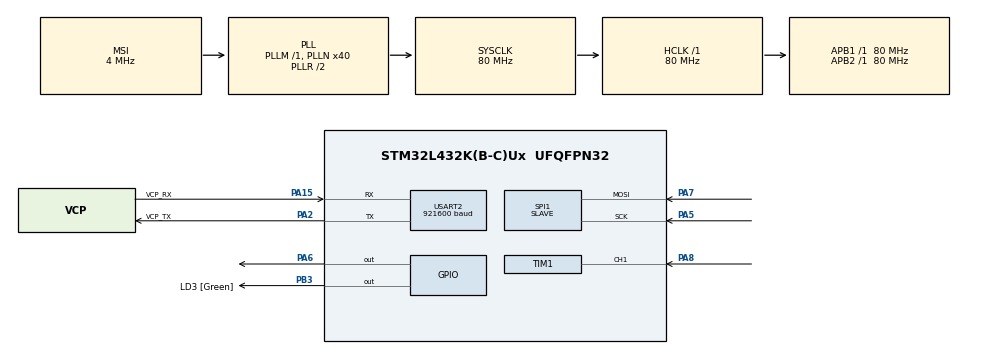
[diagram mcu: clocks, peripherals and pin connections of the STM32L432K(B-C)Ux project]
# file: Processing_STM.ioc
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Dma.Request0=USART2_RX
Dma.Request1=USART2_TX
Dma.Request2=SPI1_RX
Dma.SPI1_RX.2.Direction=DMA_PERIPH_TO_MEMORY
Dma.SPI1_RX.2.Instance=DMA1_Channel2
Dma.SPI1_RX.2.MemDataAlignment=DMA_MDATAALIGN_BYTE
Dma.SPI1_RX.2.MemInc=DMA_MINC_ENABLE
Dma.SPI1_RX.2.Mode=DMA_CIRCULAR
Dma.SPI1_RX.2.PeriphDataAlignment=DMA_PDATAALIGN_BYTE
Dma.SPI1_RX.2.PeriphInc=DMA_PINC_DISABLE
Dma.SPI1_RX.2.Priority=DMA_PRIORITY_VERY_HIGH
Dma.USART2_RX.0.Direction=DMA_PERIPH_TO_MEMORY
Dma.USART2_RX.0.Instance=DMA1_Channel6
Dma.USART2_RX.0.MemDataAlignment=DMA_MDATAALIGN_BYTE
Dma.USART2_RX.0.MemInc=DMA_MINC_ENABLE
Dma.USART2_RX.0.Mode=DMA_NORMAL
Dma.USART2_RX.0.PeriphDataAlignment=DMA_PDATAALIGN_BYTE
Dma.USART2_RX.0.PeriphInc=DMA_PINC_DISABLE
Dma.USART2_RX.0.Priority=DMA_PRIORITY_HIGH
Dma.USART2_TX.1.Direction=DMA_MEMORY_TO_PERIPH
Dma.USART2_TX.1.Instance=DMA1_Channel7
Dma.USART2_TX.1.MemDataAlignment=DMA_MDATAALIGN_BYTE
Dma.USART2_TX.1.MemInc=DMA_MINC_ENABLE
Dma.USART2_TX.1.Mode=DMA_NORMAL
Dma.USART2_TX.1.PeriphDataAlignment=DMA_PDATAALIGN_BYTE
Dma.USART2_TX.1.PeriphInc=DMA_PINC_DISABLE
Dma.USART2_TX.1.Priority=DMA_PRIORITY_LOW
Mcu.Family=STM32L4
Mcu.Name=STM32L432K(B-C)Ux
Mcu.Package=UFQFPN32
NVIC.DMA1_Channel2_IRQn=true\:1\:0\:true\:false\:true\:false\:true\:true
NVIC.DMA1_Channel6_IRQn=true\:0\:0\:true\:false\:true\:false\:true\:true
NVIC.DMA1_Channel7_IRQn=true\:0\:0\:true\:false\:true\:false\:true\:true
NVIC.PriorityGroup=NVIC_PRIORITYGROUP_4
NVIC.SPI1_IRQn=true\:0\:0\:true\:false\:true\:true\:true\:true
NVIC.TIM1_CC_IRQn=true\:1\:0\:true\:false\:true\:true\:true\:true
NVIC.TIM1_UP_TIM16_IRQn=true\:0\:0\:false\:false\:true\:true\:true\:true
NVIC.TIM6_DAC_IRQn=true\:2\:0\:true\:false\:true\:true\:true\:true
NVIC.TIM7_IRQn=true\:2\:0\:true\:false\:true\:true\:true\:true
NVIC.USART2_IRQn=true\:3\:0\:true\:false\:true\:true\:true\:true
PA0.GPIO_Label=MCO [High speed clock in]
PA0.Mode=HSE-External-Clock-Source-for-LittleOrca
PA0.Signal=RCC_CK_IN
PA13\ (JTMS-SWDIO).GPIO_Label=SWDIO
PA13\ (JTMS-SWDIO).Mode=Serial_Wire
PA13\ (JTMS-SWDIO).Signal=SYS_JTMS-SWDIO
PA14\ (JTCK-SWCLK).GPIO_Label=SWCLK
PA14\ (JTCK-SWCLK).Mode=Serial_Wire
PA14\ (JTCK-SWCLK).Signal=SYS_JTCK-SWCLK
PA15\ (JTDI).GPIO_Label=VCP_RX
PA15\ (JTDI).Mode=Asynchronous
PA15\ (JTDI).Signal=USART2_RX
PA2.GPIO_Label=VCP_TX
PA2.Mode=Asynchronous
PA2.Signal=USART2_TX
PA5.Mode=RX_Only_Simplex_Unidirect_Slave
PA5.Signal=SPI1_SCK
PA6.Signal=GPIO_Output
PA7.Mode=RX_Only_Simplex_Unidirect_Slave
PA7.Signal=SPI1_MOSI
PA8.Signal=S_TIM1_CH1
PB3\ (JTDO-TRACESWO).GPIO_Label=LD3 [Green]
PB3\ (JTDO-TRACESWO).Signal=GPIO_Output
PC14-OSC32_IN\ (PC14).Mode=LSE-External-Oscillator
PC14-OSC32_IN\ (PC14).Signal=RCC_OSC32_IN
PC15-OSC32_OUT\ (PC15).Mode=LSE-External-Oscillator
PC15-OSC32_OUT\ (PC15).Signal=RCC_OSC32_OUT
ProjectManager.HeapSize=0x200
ProjectManager.StackSize=0x400
ProjectManager.TargetToolchain=STM32CubeIDE
RCC.AHBFreq_Value=80000000
RCC.APB1Freq_Value=80000000
RCC.APB1TimFreq_Value=80000000
RCC.APB2Freq_Value=80000000
RCC.APB2TimFreq_Value=80000000
RCC.CortexFreq_Value=80000000
RCC.HCLKFreq_Value=80000000
RCC.HSE_VALUE=8000000
RCC.HSI16_VALUE=16000000
RCC.HSI48_VALUE=48000000
RCC.HSI_VALUE=16000000
RCC.MSI_VALUE=4000000
RCC.PLLMUL=RCC_PLLMUL_4
RCC.PLLN=40
RCC.SYSCLKFreq_VALUE=80000000
RCC.SYSCLKSource=RCC_SYSCLKSOURCE_PLLCLK
RCC.VCOOutputFreq_Value=160000000
SH.S_TIM1_CH1.0=TIM1_CH1,Input_Capture1_from_TI1
SPI1.DataSize=SPI_DATASIZE_8BIT
SPI1.Direction=SPI_DIRECTION_2LINES_RXONLY
SPI1.Mode=SPI_MODE_SLAVE
SPI1.VirtualType=VM_SLAVE
TIM1.Channel-Input_Capture1_from_TI1=TIM_CHANNEL_1
TIM1.ICPolarity_CH1=TIM_INPUTCHANNELPOLARITY_BOTHEDGE
TIM1.Prescaler=64-1
TIM16.Prescaler=80-1
TIM6.Prescaler=80-1
TIM7.Period=10000-1
TIM7.Prescaler=8000-1
USART2.BaudRate=921600
USART2.OverSampling=UART_OVERSAMPLING_8
USART2.VirtualMode-Asynchronous=VM_ASYNC
VP_TIM16_VS_ClockSourceINT.Mode=Enable_Timer
VP_TIM1_VS_ClockSourceINT.Mode=Internal
VP_TIM6_VS_ClockSourceINT.Mode=Enable_Timer
VP_TIM7_VS_ClockSourceINT.Mode=Enable_Timer
board=NUCLEO-L432KC

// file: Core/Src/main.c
/* USER CODE BEGIN Header */
/**
  **************************
  * @file           : main.c
  * @brief          : Main program body
  **************************
  * @attention
  *
  * Copyright (c) 2026 STMicroelectronics.
  * All rights reserved.
  *
  * This software is licensed under terms that can be found in the LICENSE file
  * in the root directory of this software component.
  * If no LICENSE file comes with this software, it is provided AS-IS.
  *
  **************************
  */
/* USER CODE END Header */
#include "main.h"

/* USER CODE BEGIN Includes */
#include <stdlib.h>
#include <stdio.h>
#include <string.h>
/* USER CODE END Includes */

/* USER CODE BEGIN PD */
#define FILTER_SIZE 4
#define RX_BUF_SIZE 64
#define OUTLIER_THRESHOLD 800 // Tunable distance
#define SAMPLES_PER_BLOCK 1500
#define SPI_BUF_SIZE (SAMPLES_PER_BLOCK * 2)
#define DISTANCE_TIMEOUT 600
#define RECORDING_LINGER_TIME 100
/* USER CODE END PD */

SPI_HandleTypeDef hspi1;
DMA_HandleTypeDef hdma_spi1_rx;

TIM_HandleTypeDef htim1;
TIM_HandleTypeDef htim6;
TIM_HandleTypeDef htim7;
TIM_HandleTypeDef htim16;

UART_HandleTypeDef huart2;
DMA_HandleTypeDef hdma_usart2_rx;
DMA_HandleTypeDef hdma_usart2_tx;

/* USER CODE BEGIN PV */
uint16_t filter_buffer[FILTER_SIZE] = {2048, 2048, 2048, 2048};
int filter_index = 0;
uint32_t running_sum = 2048 * FILTER_SIZE; // So the filter size can be variable

uint8_t spi_dma_buffer[SPI_BUF_SIZE * 2];
uint8_t rx_dma_buffer[RX_BUF_SIZE];
char cmd_processing_buffer[RX_BUF_SIZE];

// State Machine Variables
uint8_t current_mode = 0; // 'm' for manual, 'd' for distance, 0 for idle
uint8_t is_recording = 0;
uint8_t light_on = 0;
uint16_t manual_seconds_target = 0;
uint16_t seconds_elapsed = 0;
uint16_t distance_threshold_cm = 10; // Default to 10cm
uint32_t last_distance_update = 0;
uint32_t departure_time = 0;
uint8_t stop_sent = 0;
uint8_t start = 0;

// Ultrasonic Sensor Variables
uint32_t ic_val1 = 0;
uint32_t ic_val2 = 0;
uint8_t is_first_captured = 0;
volatile float distance_cm = 999.0;

uint8_t processed_uart_buffer_A[SPI_BUF_SIZE];
uint8_t processed_uart_buffer_B[SPI_BUF_SIZE];
uint8_t tx_toggle = 0;
volatile uint8_t spi_data_ready = 0;
uint8_t *ptr_to_process = NULL;
/* USER CODE END PV */

void SystemClock_Config(void);
static void MX_GPIO_Init(void);
static void MX_DMA_Init(void);
static void MX_USART2_UART_Init(void);
static void MX_SPI1_Init(void);
static void MX_TIM1_Init(void);
static void MX_TIM6_Init(void);
static void MX_TIM7_Init(void);
static void MX_TIM16_Init(void);
/* USER CODE BEGIN PFP */
void delay_uS(uint16_t delay);
void Process_And_Send(uint8_t *data_ptr);
/* USER CODE END PFP */

/* USER CODE BEGIN 0 */
void UART2_ResetReception(void)
{
    // Stop current DMA reception
    HAL_UART_AbortReceive(&huart2);

    // Clear UART error flags (noise from cable switching)
    __HAL_UART_CLEAR_FLAG(&huart2, UART_CLEAR_OREF | UART_CLEAR_NEF | UART_CLEAR_FEF);

    // Restart DMA reception
    HAL_UARTEx_ReceiveToIdle_DMA(&huart2, rx_dma_buffer, RX_BUF_SIZE);
    __HAL_DMA_DISABLE_IT(huart2.hdmarx, DMA_IT_HT);
}
/* USER CODE END 0 */

int main(void)
{

  /* MCU Configuration--------------------------------------------------------*/

  /* Reset of all peripherals, Initializes the Flash interface and the Systick. */
  HAL_Init();

  /* Configure the system clock */
  SystemClock_Config();

  /* Initialize all configured peripherals */
  MX_GPIO_Init();
  MX_DMA_Init();
  MX_USART2_UART_Init();
  MX_SPI1_Init();
  MX_TIM1_Init();
  MX_TIM6_Init();
  MX_TIM7_Init();
  MX_TIM16_Init();
  /* USER CODE BEGIN 2 */
  UART2_ResetReception();

  // Start listening for SPI data from the Sampling STM
  HAL_SPI_Receive_DMA(&hspi1, spi_dma_buffer, SPI_BUF_SIZE * 2);

  // Start the Ultrasonic Echo Input Capture
  HAL_TIM_IC_Start_IT(&htim1, TIM_CHANNEL_1);

  // Start the Ultrasonic Trigger generation timer
  HAL_TIM_Base_Start_IT(&htim6);
  HAL_TIM_Base_Start_IT(&htim16);
  /* USER CODE END 2 */

  /* Infinite loop */
  /* USER CODE BEGIN WHILE */
  while (1)
  {
	  if (spi_data_ready) {
		  spi_data_ready = 0;
		  Process_And_Send(ptr_to_process);
	  }
    /* USER CODE END WHILE */

  }
}

void SystemClock_Config(void)
{
  RCC_OscInitTypeDef RCC_OscInitStruct = {0};
  RCC_ClkInitTypeDef RCC_ClkInitStruct = {0};

  /** Configure the main internal regulator output voltage
  */
  if (HAL_PWREx_ControlVoltageScaling(PWR_REGULATOR_VOLTAGE_SCALE1) != HAL_OK)
  {
    Error_Handler();
  }
  /** Configure LSE Drive Capability
  */
  HAL_PWR_EnableBkUpAccess();
  __HAL_RCC_LSEDRIVE_CONFIG(RCC_LSEDRIVE_LOW);

  /** Initializes the RCC Oscillators according to the specified parameters
  * in the RCC_OscInitTypeDef structure.
  */
  RCC_OscInitStruct.OscillatorType = RCC_OSCILLATORTYPE_LSE|RCC_OSCILLATORTYPE_MSI;
  RCC_OscInitStruct.LSEState = RCC_LSE_ON;
  RCC_OscInitStruct.MSIState = RCC_MSI_ON;
  RCC_OscInitStruct.MSICalibrationValue = 0;
  RCC_OscInitStruct.MSIClockRange = RCC_MSIRANGE_6;
  RCC_OscInitStruct.PLL.PLLState = RCC_PLL_ON;
  RCC_OscInitStruct.PLL.PLLSource = RCC_PLLSOURCE_MSI;
  RCC_OscInitStruct.PLL.PLLM = 1;
  RCC_OscInitStruct.PLL.PLLN = 40;
  RCC_OscInitStruct.PLL.PLLP = RCC_PLLP_DIV7;
  RCC_OscInitStruct.PLL.PLLQ = RCC_PLLQ_DIV2;
  RCC_OscInitStruct.PLL.PLLR = RCC_PLLR_DIV2;
  if (HAL_RCC_OscConfig(&RCC_OscInitStruct) != HAL_OK)
  {
    Error_Handler();
  }
  /** Initializes the CPU, AHB and APB buses clocks
  */
  RCC_ClkInitStruct.ClockType = RCC_CLOCKTYPE_HCLK|RCC_CLOCKTYPE_SYSCLK
                              |RCC_CLOCKTYPE_PCLK1|RCC_CLOCKTYPE_PCLK2;
  RCC_ClkInitStruct.SYSCLKSource = RCC_SYSCLKSOURCE_PLLCLK;
  RCC_ClkInitStruct.AHBCLKDivider = RCC_SYSCLK_DIV1;
  RCC_ClkInitStruct.APB1CLKDivider = RCC_HCLK_DIV1;
  RCC_ClkInitStruct.APB2CLKDivider = RCC_HCLK_DIV1;

  if (HAL_RCC_ClockConfig(&RCC_ClkInitStruct, FLASH_LATENCY_4) != HAL_OK)
  {
    Error_Handler();
  }
  /** Enable MSI Auto calibration
  */
  HAL_RCCEx_EnableMSIPLLMode();
}

static void MX_SPI1_Init(void)
{

  /* SPI1 parameter configuration*/
  hspi1.Instance = SPI1;
  hspi1.Init.Mode = SPI_MODE_SLAVE;
  hspi1.Init.Direction = SPI_DIRECTION_2LINES_RXONLY;
  hspi1.Init.DataSize = SPI_DATASIZE_8BIT;
  hspi1.Init.CLKPolarity = SPI_POLARITY_LOW;
  hspi1.Init.CLKPhase = SPI_PHASE_1EDGE;
  hspi1.Init.NSS = SPI_NSS_SOFT;
  hspi1.Init.FirstBit = SPI_FIRSTBIT_MSB;
  hspi1.Init.TIMode = SPI_TIMODE_DISABLE;
  hspi1.Init.CRCCalculation = SPI_CRCCALCULATION_DISABLE;
  hspi1.Init.CRCPolynomial = 7;
  hspi1.Init.CRCLength = SPI_CRC_LENGTH_DATASIZE;
  hspi1.Init.NSSPMode = SPI_NSS_PULSE_DISABLE;
  if (HAL_SPI_Init(&hspi1) != HAL_OK)
  {
    Error_Handler();
  }

}

static void MX_TIM1_Init(void)
{

  TIM_ClockConfigTypeDef sClockSourceConfig = {0};
  TIM_MasterConfigTypeDef sMasterConfig = {0};
  TIM_IC_InitTypeDef sConfigIC = {0};

  htim1.Instance = TIM1;
  htim1.Init.Prescaler = 64-1;
  htim1.Init.CounterMode = TIM_COUNTERMODE_UP;
  htim1.Init.Period = 65535;
  htim1.Init.ClockDivision = TIM_CLOCKDIVISION_DIV1;
  htim1.Init.RepetitionCounter = 0;
  htim1.Init.AutoReloadPreload = TIM_AUTORELOAD_PRELOAD_DISABLE;
  if (HAL_TIM_Base_Init(&htim1) != HAL_OK)
  {
    Error_Handler();
  }
  sClockSourceConfig.ClockSource = TIM_CLOCKSOURCE_INTERNAL;
  if (HAL_TIM_ConfigClockSource(&htim1, &sClockSourceConfig) != HAL_OK)
  {
    Error_Handler();
  }
  if (HAL_TIM_IC_Init(&htim1) != HAL_OK)
  {
    Error_Handler();
  }
  sMasterConfig.MasterOutputTrigger = TIM_TRGO_RESET;
  sMasterConfig.MasterOutputTrigger2 = TIM_TRGO2_RESET;
  sMasterConfig.MasterSlaveMode = TIM_MASTERSLAVEMODE_DISABLE;
  if (HAL_TIMEx_MasterConfigSynchronization(&htim1, &sMasterConfig) != HAL_OK)
  {
    Error_Handler();
  }
  sConfigIC.ICPolarity = TIM_INPUTCHANNELPOLARITY_BOTHEDGE;
  sConfigIC.ICSelection = TIM_ICSELECTION_DIRECTTI;
  sConfigIC.ICPrescaler = TIM_ICPSC_DIV1;
  sConfigIC.ICFilter = 0;
  if (HAL_TIM_IC_ConfigChannel(&htim1, &sConfigIC, TIM_CHANNEL_1) != HAL_OK)
  {
    Error_Handler();
  }
}

static void MX_TIM6_Init(void)
{

  TIM_MasterConfigTypeDef sMasterConfig = {0};

  htim6.Instance = TIM6;
  htim6.Init.Prescaler = 80-1;
  htim6.Init.CounterMode = TIM_COUNTERMODE_UP;
  htim6.Init.Period = 65535;
  htim6.Init.AutoReloadPreload = TIM_AUTORELOAD_PRELOAD_DISABLE;
  if (HAL_TIM_Base_Init(&htim6) != HAL_OK)
  {
    Error_Handler();
  }
  sMasterConfig.MasterOutputTrigger = TIM_TRGO_RESET;
  sMasterConfig.MasterSlaveMode = TIM_MASTERSLAVEMODE_DISABLE;
  if (HAL_TIMEx_MasterConfigSynchronization(&htim6, &sMasterConfig) != HAL_OK)
  {
    Error_Handler();
  }

}

static void MX_TIM7_Init(void)
{

  TIM_MasterConfigTypeDef sMasterConfig = {0};

  htim7.Instance = TIM7;
  htim7.Init.Prescaler = 8000-1;
  htim7.Init.CounterMode = TIM_COUNTERMODE_UP;
  htim7.Init.Period = 10000-1;
  htim7.Init.AutoReloadPreload = TIM_AUTORELOAD_PRELOAD_DISABLE;
  if (HAL_TIM_Base_Init(&htim7) != HAL_OK)
  {
    Error_Handler();
  }
  sMasterConfig.MasterOutputTrigger = TIM_TRGO_RESET;
  sMasterConfig.MasterSlaveMode = TIM_MASTERSLAVEMODE_DISABLE;
  if (HAL_TIMEx_MasterConfigSynchronization(&htim7, &sMasterConfig) != HAL_OK)
  {
    Error_Handler();
  }

}

static void MX_TIM16_Init(void)
{

  htim16.Instance = TIM16;
  htim16.Init.Prescaler = 80-1;
  htim16.Init.CounterMode = TIM_COUNTERMODE_UP;
  htim16.Init.Period = 65535;
  htim16.Init.ClockDivision = TIM_CLOCKDIVISION_DIV1;
  htim16.Init.RepetitionCounter = 0;
  htim16.Init.AutoReloadPreload = TIM_AUTORELOAD_PRELOAD_DISABLE;
  if (HAL_TIM_Base_Init(&htim16) != HAL_OK)
  {
    Error_Handler();
  }

}

static void MX_USART2_UART_Init(void)
{

  huart2.Instance = USART2;
  huart2.Init.BaudRate = 921600;
  huart2.Init.WordLength = UART_WORDLENGTH_8B;
  huart2.Init.StopBits = UART_STOPBITS_1;
  huart2.Init.Parity = UART_PARITY_NONE;
  huart2.Init.Mode = UART_MODE_TX_RX;
  huart2.Init.HwFlowCtl = UART_HWCONTROL_NONE;
  huart2.Init.OverSampling = UART_OVERSAMPLING_8;
  huart2.Init.OneBitSampling = UART_ONE_BIT_SAMPLE_DISABLE;
  huart2.AdvancedInit.AdvFeatureInit = UART_ADVFEATURE_NO_INIT;
  if (HAL_UART_Init(&huart2) != HAL_OK)
  {
    Error_Handler();
  }

}

static void MX_DMA_Init(void)
{

  /* DMA controller clock enable */
  __HAL_RCC_DMA1_CLK_ENABLE();

  /* DMA interrupt init */
  /* DMA1_Channel2_IRQn interrupt configuration */
  HAL_NVIC_SetPriority(DMA1_Channel2_IRQn, 1, 0);
  HAL_NVIC_EnableIRQ(DMA1_Channel2_IRQn);
  /* DMA1_Channel6_IRQn interrupt configuration */
  HAL_NVIC_SetPriority(DMA1_Channel6_IRQn, 0, 0);
  HAL_NVIC_EnableIRQ(DMA1_Channel6_IRQn);
  /* DMA1_Channel7_IRQn interrupt configuration */
  HAL_NVIC_SetPriority(DMA1_Channel7_IRQn, 0, 0);
  HAL_NVIC_EnableIRQ(DMA1_Channel7_IRQn);

}

static void MX_GPIO_Init(void)
{
  GPIO_InitTypeDef GPIO_InitStruct = {0};

  /* GPIO Ports Clock Enable */
  __HAL_RCC_GPIOC_CLK_ENABLE();
  __HAL_RCC_GPIOA_CLK_ENABLE();
  __HAL_RCC_GPIOB_CLK_ENABLE();

  /*Configure GPIO pin Output Level */
  HAL_GPIO_WritePin(GPIOA, GPIO_PIN_6, GPIO_PIN_RESET);

  /*Configure GPIO pin Output Level */
  HAL_GPIO_WritePin(LD3_GPIO_Port, LD3_Pin, GPIO_PIN_RESET);

  /*Configure GPIO pin : PA6 */
  GPIO_InitStruct.Pin = GPIO_PIN_6;
  GPIO_InitStruct.Mode = GPIO_MODE_OUTPUT_PP;
  GPIO_InitStruct.Pull = GPIO_NOPULL;
  GPIO_InitStruct.Speed = GPIO_SPEED_FREQ_LOW;
  HAL_GPIO_Init(GPIOA, &GPIO_InitStruct);

  /*Configure GPIO pin : LD3_Pin */
  GPIO_InitStruct.Pin = LD3_Pin;
  GPIO_InitStruct.Mode = GPIO_MODE_OUTPUT_PP;
  GPIO_InitStruct.Pull = GPIO_NOPULL;
  GPIO_InitStruct.Speed = GPIO_SPEED_FREQ_LOW;
  HAL_GPIO_Init(LD3_GPIO_Port, &GPIO_InitStruct);

}

/* USER CODE BEGIN 4 */
void HAL_UARTEx_RxEventCallback(UART_HandleTypeDef *huart, uint16_t Size)
{
	if (huart->Instance == USART2) {
		// Null-terminate the string received via DMA
		rx_dma_buffer[Size] = '\0';
		memcpy(cmd_processing_buffer, rx_dma_buffer, Size + 1);

		char mode = cmd_processing_buffer[0];
		int value = atoi(&cmd_processing_buffer[1]);
		HAL_GPIO_WritePin(GPIOB, GPIO_PIN_3, GPIO_PIN_RESET);

        if (mode == 'm') {
            current_mode = 'm';
            manual_seconds_target = (uint16_t)value;
            seconds_elapsed = 0;
            is_recording = 1;
            HAL_TIM_Base_Start_IT(&htim7); // Start the 1-second timer
        }
        else if (mode == 'd') {
            current_mode = 'd';
            is_recording = 1;
            distance_threshold_cm = (uint16_t)value;
            if(distance_threshold_cm == 0) distance_threshold_cm = 10;
            departure_time = HAL_GetTick();
			stop_sent = 1;
			start = 0;
        }

        // Listen for the next command
        HAL_UARTEx_ReceiveToIdle_DMA(&huart2, rx_dma_buffer, RX_BUF_SIZE);
        __HAL_DMA_DISABLE_IT(huart2.hdmarx, DMA_IT_HT);
    }
}

// Half-Buffer Callback (Ping)
void HAL_SPI_RxHalfCpltCallback(SPI_HandleTypeDef *hspi) {
    ptr_to_process = &spi_dma_buffer[0];
    spi_data_ready = 1;
}

void HAL_SPI_RxCpltCallback(SPI_HandleTypeDef *hspi) {
    ptr_to_process = &spi_dma_buffer[SPI_BUF_SIZE];
    spi_data_ready = 1;
}

void Process_And_Send(uint8_t *data_ptr) {

	// Write into current toggle's buffer
	uint8_t *active_buf = (tx_toggle == 0) ? processed_uart_buffer_A : processed_uart_buffer_B;

    uint32_t current_time = HAL_GetTick();
	// Assuming distance_cm updates periodically; we use a timeout to know if it's stale
	uint8_t is_distance_valid = (current_time - last_distance_update) < DISTANCE_TIMEOUT;

    // Conditional Transmission
    if (is_recording) {
    	for (int i = 0; i < SAMPLES_PER_BLOCK; i++) {
    	        // Extract 12-bit sample from Sampling STM32
    	        uint16_t raw_sample = (data_ptr[i*2 + 1] << 8) | data_ptr[i*2];

    	        // Filter Logic
    	        uint16_t current_mean = (uint16_t)(running_sum / FILTER_SIZE);
    	        int16_t diff = (int16_t)raw_sample - (int16_t)current_mean;
    	        if (diff > OUTLIER_THRESHOLD || diff < -OUTLIER_THRESHOLD) {
    	            raw_sample = current_mean;
    	        }

    	        running_sum -= filter_buffer[filter_index];
    	        filter_buffer[filter_index] = raw_sample;
    	        running_sum += filter_buffer[filter_index];
    	        filter_index = (filter_index + 1) % FILTER_SIZE;
    	        uint16_t filtered = (uint16_t)(running_sum / FILTER_SIZE);

    	        active_buf[(i*2) + 1] = (uint8_t)(filtered >> 8);
    	        active_buf[(i*2)]     = (uint8_t)(filtered & 0xFF);
    	    }

		if (current_mode == 'm') {
			if (light_on == 0) {
				HAL_GPIO_WritePin(GPIOB, GPIO_PIN_3, GPIO_PIN_SET);
				light_on = 1;
			}
			HAL_UART_Transmit_DMA(&huart2, active_buf, SPI_BUF_SIZE);
			tx_toggle = !tx_toggle;
		}
		else if (current_mode == 'd') {
			uint8_t object_in_range = (is_distance_valid && distance_cm <= (float)distance_threshold_cm);
			// Only transmit if user is within distance threshold
			if (object_in_range) {
				departure_time = HAL_GetTick(); // Keep resetting the timer while object is present
				stop_sent = 0;                  // Ready to handle the next departure
			}

			// Transmit if object is present OR we are within the 0.1 second linger window
			if (object_in_range || (HAL_GetTick() - departure_time < RECORDING_LINGER_TIME)) {
				if (!start){
					start = 1;
					HAL_GPIO_WritePin(GPIOB, GPIO_PIN_3, GPIO_PIN_SET);
				} else {
					HAL_UART_Transmit_DMA(&huart2, active_buf, SPI_BUF_SIZE);
					tx_toggle = !tx_toggle;
				}
			}
			else {
				if (!stop_sent) {
					HAL_GPIO_WritePin(GPIOB, GPIO_PIN_3, GPIO_PIN_RESET); // LED OFF
					stop_sent = 1;
					start = 0;

					// Reset filter for next transmission
					running_sum = 2048 * FILTER_SIZE;
					for (int i = 0; i < FILTER_SIZE; i++) filter_buffer[i] = 2048;
					filter_index = 0;
				}
			}
		}
	}
    else if (light_on) {
		light_on = 0;
		HAL_GPIO_WritePin(GPIOB, GPIO_PIN_3, GPIO_PIN_RESET);
	}
}

void HAL_TIM_PeriodElapsedCallback(TIM_HandleTypeDef *htim) {
    // Manual Mode Duration Timer (1 Hz)
    if (htim->Instance == TIM7) {
        if (current_mode == 'm' && is_recording) {
            seconds_elapsed++;
            if (seconds_elapsed >= manual_seconds_target) {
                is_recording = 0; // Stop recording
                HAL_TIM_Base_Stop_IT(&htim7);
            }
        }
    }

    // Ultrasonic Trigger Timer (Every ~60ms)
    if (htim->Instance == TIM6) {
        // Send a 10us HIGH pulse to the TRIG pin
        HAL_GPIO_WritePin(GPIOA, GPIO_PIN_6, GPIO_PIN_SET);
        // Delay 10us (Requires a small blocking delay or another timer,
        delay_uS(10);
        HAL_GPIO_WritePin(GPIOA, GPIO_PIN_6, GPIO_PIN_RESET);
    }
}

// ULTRASONIC ECHO INPUT CAPTURE
void HAL_TIM_IC_CaptureCallback(TIM_HandleTypeDef *htim) {
    if (htim->Channel == HAL_TIM_ACTIVE_CHANNEL_1) {
        if (is_first_captured == 0) {
            ic_val1 = HAL_TIM_ReadCapturedValue(htim, TIM_CHANNEL_1);
            is_first_captured = 1;
            __HAL_TIM_SET_CAPTUREPOLARITY(htim, TIM_CHANNEL_1, TIM_INPUTCHANNELPOLARITY_FALLING);
        } else {
            ic_val2 = HAL_TIM_ReadCapturedValue(htim, TIM_CHANNEL_1);
            __HAL_TIM_SET_COUNTER(htim, 0);

            uint32_t difference = (ic_val2 > ic_val1) ? (ic_val2 - ic_val1) : ((0xFFFF - ic_val1) + ic_val2);

            // Calculate distance in cm (depends on your timer clock frequency)
            // Assuming 1us timer tick: distance = (time * 0.0343) / 2
            distance_cm = difference * 0.01715;
            last_distance_update = HAL_GetTick();

            is_first_captured = 0;
            __HAL_TIM_SET_CAPTUREPOLARITY(htim, TIM_CHANNEL_1, TIM_INPUTCHANNELPOLARITY_RISING);
        }
    }
}

void delay_uS(uint16_t delay)
{
	__HAL_TIM_SET_COUNTER(&htim16, 0);
	while(__HAL_TIM_GET_COUNTER(&htim16) < delay)
	{

	}
}

void HAL_UART_ErrorCallback(UART_HandleTypeDef *huart)
{
	// When there is noise and the idle line interrupt fails resets the receiver
    if (huart->Instance == USART2)
	{
		UART2_ResetReception();
	}
}

void HAL_SPI_ErrorCallback(SPI_HandleTypeDef *hspi) {
    if (hspi->Instance == SPI1) {
        // Check if it was an Overrun error
        if (HAL_SPI_GetError(hspi) & HAL_SPI_ERROR_OVR) {
            // Clear the OVR flag by reading DR and SR (HAL does this in Abort)
            HAL_SPI_Abort(hspi);

            // Restart the DMA
            HAL_SPI_Receive_DMA(&hspi1, spi_dma_buffer, SPI_BUF_SIZE * 2);
        }
    }
}

/* USER CODE END 4 */

void Error_Handler(void)
{
  __disable_irq();
  while (1)
  {
  }
}
